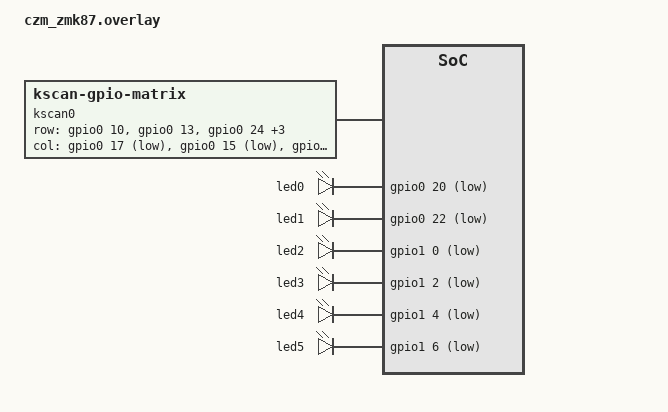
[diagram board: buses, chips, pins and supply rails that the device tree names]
#include <dt-bindings/gpio/gpio.h>

/ {
    chosen {
        zmk,kscan = &kscan0;
    };

    // CZM ZMK87 wireless TKL: 6 x 16 key matrix (96 positions).
    //
    // Hardware diode wiring: ROW pins are the strobes (outputs, driven high
    // one at a time); COL pins are the sense lines (inputs with internal
    // pull-up, read active-low through the diode). This is ZMK's "row2col"
    // diode direction (row drives -> col senses; the matrix position index
    // is row * columns + col, i.e. position (r,c) = r*16 + c, so no matrix
    // transform is needed and keymap bindings map 1:1 to (row,col)).
    kscan0: kscan {
        compatible = "zmk,kscan-gpio-matrix";
        wakeup-source;
        debounce-press-ms = <5>;
        debounce-release-ms = <5>;

        diode-direction = "row2col";

        // Rows = strobe outputs (drive high to scan)
        row-gpios
            = <&gpio0 10 GPIO_ACTIVE_HIGH>   // R0
            , <&gpio0 13 GPIO_ACTIVE_HIGH>   // R1
            , <&gpio0 24 GPIO_ACTIVE_HIGH>   // R2
            , <&gpio0  9 GPIO_ACTIVE_HIGH>   // R3
            , <&gpio0 28 GPIO_ACTIVE_HIGH>   // R4
            , <&gpio1 10 GPIO_ACTIVE_HIGH>   // R5
            ;

        // Cols = sense inputs (pulled up, active-low through diode)
        col-gpios
            = <&gpio0 17 (GPIO_ACTIVE_LOW | GPIO_PULL_UP)>   // C0
            , <&gpio0 15 (GPIO_ACTIVE_LOW | GPIO_PULL_UP)>   // C1
            , <&gpio0  7 (GPIO_ACTIVE_LOW | GPIO_PULL_UP)>   // C2
            , <&gpio1  9 (GPIO_ACTIVE_LOW | GPIO_PULL_UP)>   // C3
            , <&gpio0  5 (GPIO_ACTIVE_LOW | GPIO_PULL_UP)>   // C4
            , <&gpio0 12 (GPIO_ACTIVE_LOW | GPIO_PULL_UP)>   // C5
            , <&gpio0  4 (GPIO_ACTIVE_LOW | GPIO_PULL_UP)>   // C6
            , <&gpio0  8 (GPIO_ACTIVE_LOW | GPIO_PULL_UP)>   // C7
            , <&gpio0  6 (GPIO_ACTIVE_LOW | GPIO_PULL_UP)>   // C8
            , <&gpio0 26 (GPIO_ACTIVE_LOW | GPIO_PULL_UP)>   // C9
            , <&gpio0 30 (GPIO_ACTIVE_LOW | GPIO_PULL_UP)>   // C10
            , <&gpio0 29 (GPIO_ACTIVE_LOW | GPIO_PULL_UP)>   // C11
            , <&gpio0  2 (GPIO_ACTIVE_LOW | GPIO_PULL_UP)>   // C12
            , <&gpio1 13 (GPIO_ACTIVE_LOW | GPIO_PULL_UP)>   // C13
            , <&gpio0  3 (GPIO_ACTIVE_LOW | GPIO_PULL_UP)>   // C14
            , <&gpio1 11 (GPIO_ACTIVE_LOW | GPIO_PULL_UP)>   // C15
            ;
    };

    // Monochrome indicator LEDs.
    // Wiring per LED: 3.3V rail -> resistor -> LED anode (+),
    //                 LED cathode (-) -> GPIO.
    // Active-low: GPIO driven LOW turns the LED on (handled by gpio-leds).
    // NOTE: led index must match LED_* in src/czm_zmk87_indicator.c.
    //   CAPS / SL are on gpio0; BLE1..3 / USB are on gpio1.
    // (P0.31 STBY is the hardware charge lamp chain and is NOT managed here.)
    leds {
        compatible = "gpio-leds";
        label = "CZM ZMK87 indicator LEDs";
        led0: led_0 { gpios = <&gpio0 20 GPIO_ACTIVE_LOW>; };  // CapsLock
        led1: led_1 { gpios = <&gpio0 22 GPIO_ACTIVE_LOW>; };  // ScrollLock
        led2: led_2 { gpios = <&gpio1  0 GPIO_ACTIVE_LOW>; };  // BLE profile 1
        led3: led_3 { gpios = <&gpio1  2 GPIO_ACTIVE_LOW>; };  // BLE profile 2
        led4: led_4 { gpios = <&gpio1  4 GPIO_ACTIVE_LOW>; };  // BLE profile 3
        led5: led_5 { gpios = <&gpio1  6 GPIO_ACTIVE_LOW>; };  // USB output
    };
};
